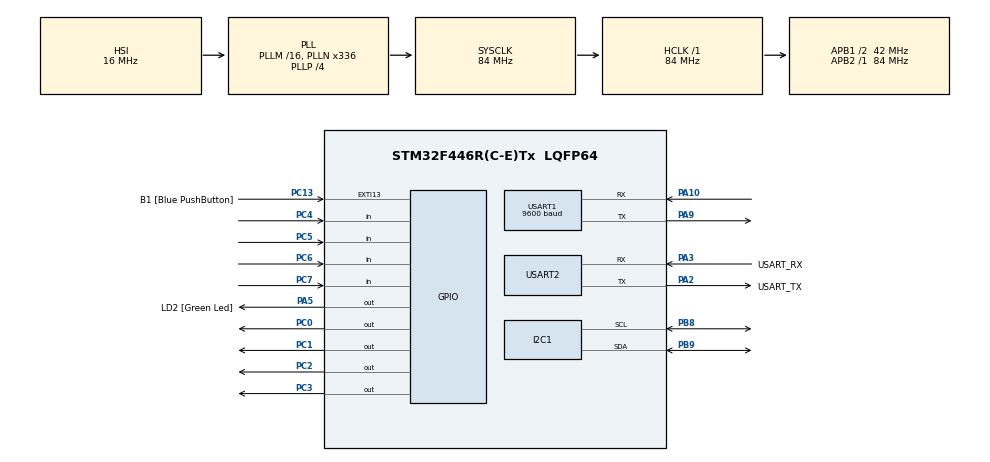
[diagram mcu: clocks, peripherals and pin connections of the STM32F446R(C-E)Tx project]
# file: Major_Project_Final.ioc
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I2C1.I2C_Mode=I2C_Fast
Mcu.Family=STM32F4
Mcu.Name=STM32F446R(C-E)Tx
Mcu.Package=LQFP64
NVIC.PriorityGroup=NVIC_PRIORITYGROUP_0
NVIC.USART1_IRQn=true\:0\:0\:false\:false\:true\:true\:true\:true
PA10.Mode=Asynchronous
PA10.Signal=USART1_RX
PA13.GPIO_Label=TMS
PA13.Mode=Serial_Wire
PA13.Signal=SYS_JTMS-SWDIO
PA14.GPIO_Label=TCK
PA14.Mode=Serial_Wire
PA14.Signal=SYS_JTCK-SWCLK
PA2.GPIO_Label=USART_TX
PA2.Mode=Asynchronous
PA2.Signal=USART2_TX
PA3.GPIO_Label=USART_RX
PA3.Mode=Asynchronous
PA3.Signal=USART2_RX
PA5.GPIO_Label=LD2 [Green Led]
PA5.Signal=GPIO_Output
PA9.Mode=Asynchronous
PA9.Signal=USART1_TX
PB3.GPIO_Label=SWO
PB3.Signal=SYS_JTDO-SWO
PB8.Mode=I2C
PB8.Signal=I2C1_SCL
PB9.Mode=I2C
PB9.Signal=I2C1_SDA
PC0.Signal=GPIO_Output
PC1.Signal=GPIO_Output
PC13.GPIO_Label=B1 [Blue PushButton]
PC13.GPIO_ModeDefaultEXTI=GPIO_MODE_IT_FALLING
PC13.Signal=GPXTI13
PC14-OSC32_IN.Mode=LSE-External-Oscillator
PC14-OSC32_IN.Signal=RCC_OSC32_IN
PC15-OSC32_OUT.Mode=LSE-External-Oscillator
PC15-OSC32_OUT.Signal=RCC_OSC32_OUT
PC2.Signal=GPIO_Output
PC3.Signal=GPIO_Output
PC4.GPIO_PuPd=GPIO_PULLUP
PC4.Signal=GPIO_Input
PC5.GPIO_PuPd=GPIO_PULLUP
PC5.Signal=GPIO_Input
PC6.GPIO_PuPd=GPIO_PULLUP
PC6.Signal=GPIO_Input
PC7.GPIO_PuPd=GPIO_PULLUP
PC7.Signal=GPIO_Input
PH0-OSC_IN.Mode=HSE-External-Oscillator
PH0-OSC_IN.Signal=RCC_OSC_IN
PH1-OSC_OUT.Mode=HSE-External-Oscillator
PH1-OSC_OUT.Signal=RCC_OSC_OUT
ProjectManager.HeapSize=0x200
ProjectManager.StackSize=0x400
ProjectManager.TargetToolchain=STM32CubeIDE
RCC.48MHZClocksFreq_Value=84000000
RCC.AHBFreq_Value=84000000
RCC.APB1CLKDivider=RCC_HCLK_DIV2
RCC.APB1Freq_Value=42000000
RCC.APB1TimFreq_Value=84000000
RCC.APB2Freq_Value=84000000
RCC.APB2TimFreq_Value=84000000
RCC.CortexFreq_Value=84000000
RCC.FLatency-AdvancedSettings=FLASH_LATENCY_2
RCC.HCLKFreq_Value=84000000
RCC.HSE_VALUE=8000000
RCC.HSI_VALUE=16000000
RCC.PLLN=336
RCC.PLLP=RCC_PLLP_DIV4
RCC.SYSCLKFreq_VALUE=84000000
RCC.SYSCLKSource=RCC_SYSCLKSOURCE_PLLCLK
RCC.USBFreq_Value=168000000
RCC.VCOOutputFreq_Value=336000000
RTC.Alarm=RTC_ALARM_A
RTC.Date=16
RTC.Hours=19
RTC.Month=RTC_MONTH_MAY
RTC.WeekDay=RTC_WEEKDAY_TUESDAY
USART1.BaudRate=9600
USART1.VirtualMode=VM_ASYNC
USART2.VirtualMode=VM_ASYNC
VP_RTC_VS_RTC_Activate.Mode=RTC_Enabled
VP_RTC_VS_RTC_Alarm_A_Intern.Mode=Alarm A
VP_RTC_VS_RTC_Calendar.Mode=RTC_Calendar
board=NUCLEO-F446RE

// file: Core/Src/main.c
/* USER CODE BEGIN Header */
/**
  ******************************************************************************
  * @file           : main.c
  * @brief          : Main program body
  ******************************************************************************
  * @attention
  *
  * Copyright (c) 2023 STMicroelectronics.
  * All rights reserved.
  *
  * This software is licensed under terms that can be found in the LICENSE file
  * in the root directory of this software component.
  * If no LICENSE file comes with this software, it is provided AS-IS.
  *
  ******************************************************************************
  */
/* USER CODE END Header */
#include "main.h"

/* USER CODE BEGIN Includes */
#include "ssd1306.h"
#include "fonts.h"
#include "test.h"
#include "bitmap.h"
#include "horse_anim.h"
#include "oled_keypad.h"
#include "internal_RTC.h"
#include <string.h>
/* USER CODE END Includes */

/* Private t data[count].rfid_dataypedef -----------------------------------------------------------*/

I2C_HandleTypeDef hi2c1;

RTC_HandleTypeDef hrtc;

UART_HandleTypeDef huart1;
UART_HandleTypeDef huart2;

void SystemClock_Config(void);
static void MX_GPIO_Init(void);
static void MX_USART2_UART_Init(void);
static void MX_I2C1_Init(void);
static void MX_USART1_UART_Init(void);
static void MX_RTC_Init(void);

/* USER CODE BEGIN 0 */
//uint8_t  rfid_data[16];

struct details{
	char rfid_data[16];
}data[3];
uint8_t value[16];
//uint8_t data;
uint8_t count=0;
char filteredData[3];

void filter() {
     // Initialize filteredData with the original data

    for (int i = 0; i < 4; i++) {
        filteredData[i] = value[i]; // Assign the value from rfid_data to filteredData
    }

    //return filteredData; // Return the filtered value
}

/* USER CODE END 0 */

int main(void)
{

  /* MCU Configuration--------------------------------------------------------*/

  /* Reset of all peripherals, Initializes the Flash interface and the Systick. */
  HAL_Init();

  /* Configure the system clock */
  SystemClock_Config();

  /* Initialize all configured peripherals */
  MX_GPIO_Init();
  MX_USART2_UART_Init();
  MX_I2C1_Init();
  MX_USART1_UART_Init();
  MX_RTC_Init();
  /* USER CODE BEGIN 2 */
  SSD1306_Init (); // initialize the display
  SSD1306_Clear();

  if(HAL_RTCEx_BKUPRead(&hrtc, RTC_BKP_DR1) != 0x32F2)
        {
        //   Set the time
          set_time();
        }

    SSD1306_GotoXY (5,15); // goto 10, 10
    SSD1306_Puts ("WELCOME TO V2 MALL ", &Font_7x10, 1); // print Hello
    SSD1306_GotoXY (5, 30);
    SSD1306_Puts ("SCAN YOUR ITEMS", &Font_7x10, 1);
    SSD1306_UpdateScreen(); // update screen
    HAL_Delay(1000);
    SSD1306_Clear();

  /* USER CODE END 2 */
    //int c = filter(data);
  /* Infinite loop */
  /* USER CODE BEGIN WHILE */
    while (1)
      {
    	//oled_keypad();
    	get_time();
    	HAL_Delay(500);
        SSD1306_GotoXY (70,0);
    	SSD1306_Puts (time, &Font_7x10, 1);
    	SSD1306_GotoXY (0,0);
    	SSD1306_Puts ("V2 MALL", &Font_7x10, 1);

    	SSD1306_UpdateScreen();

    	SSD1306_GotoXY (0,8);
    	SSD1306_DrawLine(0,10, 128, 10, 1);
    	SSD1306_UpdateScreen();

  	    HAL_UART_Receive_IT(&huart1,value, 7);
        HAL_Delay(500);
//        if(value > 0)
//        {
//        	filter();
//        	SSD1306_GotoXY (10,50);
//        	SSD1306_Puts (filteredData, &Font_7x10, 1);
//        	SSD1306_UpdateScreen();
//
//        }
        if(!(strncmp(filteredData,"3E00",3))==1)
        {
        	SSD1306_GotoXY (10,35);
        	SSD1306_Puts ("Kurti Rs.800", &Font_7x10, 1);
        	SSD1306_GotoXY (10,50);
        	SSD1306_Puts ("Total Rs.3300", &Font_7x10, 1);
        	SSD1306_UpdateScreen();
        }

        else if(!(strncmp(filteredData,"1800",3))==1)
                {
                	SSD1306_GotoXY (10,25);
                	SSD1306_Puts ("Shirt Rs.700", &Font_7x10, 1);
                	SSD1306_UpdateScreen();
                }

        else if (!(strncmp(filteredData,"5500",3))==1)
                {
//                	printf("%s filter data\n",filteredData);
//                	printf("%s value\n",value);
                	SSD1306_GotoXY (10,15);
                	SSD1306_Puts ("Jeans Rs.1800", &Font_7x10, 1);
                	SSD1306_UpdateScreen();
                }

    /* USER CODE END WHILE */

  }
}
void HAL_UART_RxCpltCallback(UART_HandleTypeDef *huart)
{
	for(int i=0;i<16;i++){
		data[count].rfid_data[i]=value[i];
	}
	filter();
//	SSD1306_GotoXY (10,50);
//	SSD1306_Puts (filteredData, &Font_7x10, 1);
//	SSD1306_UpdateScreen();
	count++;
}
void SystemClock_Config(void)
{
  RCC_OscInitTypeDef RCC_OscInitStruct = {0};
  RCC_ClkInitTypeDef RCC_ClkInitStruct = {0};

  /** Configure the main internal regulator output voltage
  */
  __HAL_RCC_PWR_CLK_ENABLE();
  __HAL_PWR_VOLTAGESCALING_CONFIG(PWR_REGULATOR_VOLTAGE_SCALE3);

  /** Initializes the RCC Oscillators according to the specified parameters
  * in the RCC_OscInitTypeDef structure.
  */
  RCC_OscInitStruct.OscillatorType = RCC_OSCILLATORTYPE_HSI|RCC_OSCILLATORTYPE_LSI;
  RCC_OscInitStruct.LSEState = RCC_LSE_ON;
  RCC_OscInitStruct.HSIState = RCC_HSI_ON;
  RCC_OscInitStruct.HSICalibrationValue = RCC_HSICALIBRATION_DEFAULT;
  RCC_OscInitStruct.LSIState = RCC_LSI_ON;
  RCC_OscInitStruct.PLL.PLLState = RCC_PLL_ON;
  RCC_OscInitStruct.PLL.PLLSource = RCC_PLLSOURCE_HSI;
  RCC_OscInitStruct.PLL.PLLM = 16;
  RCC_OscInitStruct.PLL.PLLN = 336;
  RCC_OscInitStruct.PLL.PLLP = RCC_PLLP_DIV4;
  RCC_OscInitStruct.PLL.PLLQ = 2;
  RCC_OscInitStruct.PLL.PLLR = 2;
  if (HAL_RCC_OscConfig(&RCC_OscInitStruct) != HAL_OK)
  {
    Error_Handler();
  }

  /** Initializes the CPU, AHB and APB buses clocks
  */
  RCC_ClkInitStruct.ClockType = RCC_CLOCKTYPE_HCLK|RCC_CLOCKTYPE_SYSCLK
                              |RCC_CLOCKTYPE_PCLK1|RCC_CLOCKTYPE_PCLK2;
  RCC_ClkInitStruct.SYSCLKSource = RCC_SYSCLKSOURCE_PLLCLK;
  RCC_ClkInitStruct.AHBCLKDivider = RCC_SYSCLK_DIV1;
  RCC_ClkInitStruct.APB1CLKDivider = RCC_HCLK_DIV2;
  RCC_ClkInitStruct.APB2CLKDivider = RCC_HCLK_DIV1;

  if (HAL_RCC_ClockConfig(&RCC_ClkInitStruct, FLASH_LATENCY_2) != HAL_OK)
  {
    Error_Handler();
  }
}

static void MX_I2C1_Init(void)
{

  hi2c1.Instance = I2C1;
  hi2c1.Init.ClockSpeed = 400000;
  hi2c1.Init.DutyCycle = I2C_DUTYCYCLE_2;
  hi2c1.Init.OwnAddress1 = 0;
  hi2c1.Init.AddressingMode = I2C_ADDRESSINGMODE_7BIT;
  hi2c1.Init.DualAddressMode = I2C_DUALADDRESS_DISABLE;
  hi2c1.Init.OwnAddress2 = 0;
  hi2c1.Init.GeneralCallMode = I2C_GENERALCALL_DISABLE;
  hi2c1.Init.NoStretchMode = I2C_NOSTRETCH_DISABLE;
  if (HAL_I2C_Init(&hi2c1) != HAL_OK)
  {
    Error_Handler();
  }

}

static void MX_RTC_Init(void)
{

  RTC_TimeTypeDef sTime = {0};
  RTC_DateTypeDef sDate = {0};
  RTC_AlarmTypeDef sAlarm = {0};

  /** Initialize RTC Only
  */
  hrtc.Instance = RTC;
  hrtc.Init.HourFormat = RTC_HOURFORMAT_24;
  hrtc.Init.AsynchPrediv = 127;
  hrtc.Init.SynchPrediv = 255;
  hrtc.Init.OutPut = RTC_OUTPUT_DISABLE;
  hrtc.Init.OutPutPolarity = RTC_OUTPUT_POLARITY_HIGH;
  hrtc.Init.OutPutType = RTC_OUTPUT_TYPE_OPENDRAIN;
  if (HAL_RTC_Init(&hrtc) != HAL_OK)
  {
    Error_Handler();
  }

  /** Initialize RTC and set the Time and Date
  */
  sTime.Hours = 0x19;
  sTime.Minutes = 0x0;
  sTime.Seconds = 0x0;
  sTime.DayLightSaving = RTC_DAYLIGHTSAVING_NONE;
  sTime.StoreOperation = RTC_STOREOPERATION_RESET;
  if (HAL_RTC_SetTime(&hrtc, &sTime, RTC_FORMAT_BCD) != HAL_OK)
  {
    Error_Handler();
  }
  sDate.WeekDay = RTC_WEEKDAY_TUESDAY;
  sDate.Month = RTC_MONTH_MAY;
  sDate.Date = 0x16;
  sDate.Year = 0x0;

  if (HAL_RTC_SetDate(&hrtc, &sDate, RTC_FORMAT_BCD) != HAL_OK)
  {
    Error_Handler();
  }

  /** Enable the Alarm A
  */
  sAlarm.AlarmTime.Hours = 0x0;
  sAlarm.AlarmTime.Minutes = 0x0;
  sAlarm.AlarmTime.Seconds = 0x0;
  sAlarm.AlarmTime.SubSeconds = 0x0;
  sAlarm.AlarmTime.DayLightSaving = RTC_DAYLIGHTSAVING_NONE;
  sAlarm.AlarmTime.StoreOperation = RTC_STOREOPERATION_RESET;
  sAlarm.AlarmMask = RTC_ALARMMASK_NONE;
  sAlarm.AlarmSubSecondMask = RTC_ALARMSUBSECONDMASK_ALL;
  sAlarm.AlarmDateWeekDaySel = RTC_ALARMDATEWEEKDAYSEL_DATE;
  sAlarm.AlarmDateWeekDay = 0x1;
  sAlarm.Alarm = RTC_ALARM_A;
  if (HAL_RTC_SetAlarm(&hrtc, &sAlarm, RTC_FORMAT_BCD) != HAL_OK)
  {
    Error_Handler();
  }

}

static void MX_USART1_UART_Init(void)
{

  huart1.Instance = USART1;
  huart1.Init.BaudRate = 9600;
  huart1.Init.WordLength = UART_WORDLENGTH_8B;
  huart1.Init.StopBits = UART_STOPBITS_1;
  huart1.Init.Parity = UART_PARITY_NONE;
  huart1.Init.Mode = UART_MODE_TX_RX;
  huart1.Init.HwFlowCtl = UART_HWCONTROL_NONE;
  huart1.Init.OverSampling = UART_OVERSAMPLING_16;
  if (HAL_UART_Init(&huart1) != HAL_OK)
  {
    Error_Handler();
  }

}

static void MX_USART2_UART_Init(void)
{

  huart2.Instance = USART2;
  huart2.Init.BaudRate = 115200;
  huart2.Init.WordLength = UART_WORDLENGTH_8B;
  huart2.Init.StopBits = UART_STOPBITS_1;
  huart2.Init.Parity = UART_PARITY_NONE;
  huart2.Init.Mode = UART_MODE_TX_RX;
  huart2.Init.HwFlowCtl = UART_HWCONTROL_NONE;
  huart2.Init.OverSampling = UART_OVERSAMPLING_16;
  if (HAL_UART_Init(&huart2) != HAL_OK)
  {
    Error_Handler();
  }

}

static void MX_GPIO_Init(void)
{
  GPIO_InitTypeDef GPIO_InitStruct = {0};

  /* GPIO Ports Clock Enable */
  __HAL_RCC_GPIOC_CLK_ENABLE();
  __HAL_RCC_GPIOH_CLK_ENABLE();
  __HAL_RCC_GPIOA_CLK_ENABLE();
  __HAL_RCC_GPIOB_CLK_ENABLE();

  /*Configure GPIO pin Output Level */
  HAL_GPIO_WritePin(GPIOC, GPIO_PIN_0|GPIO_PIN_1|GPIO_PIN_2|GPIO_PIN_3, GPIO_PIN_RESET);

  /*Configure GPIO pin Output Level */
  HAL_GPIO_WritePin(LD2_GPIO_Port, LD2_Pin, GPIO_PIN_RESET);

  /*Configure GPIO pin : B1_Pin */
  GPIO_InitStruct.Pin = B1_Pin;
  GPIO_InitStruct.Mode = GPIO_MODE_IT_FALLING;
  GPIO_InitStruct.Pull = GPIO_NOPULL;
  HAL_GPIO_Init(B1_GPIO_Port, &GPIO_InitStruct);

  /*Configure GPIO pins : PC0 PC1 PC2 PC3 */
  GPIO_InitStruct.Pin = GPIO_PIN_0|GPIO_PIN_1|GPIO_PIN_2|GPIO_PIN_3;
  GPIO_InitStruct.Mode = GPIO_MODE_OUTPUT_PP;
  GPIO_InitStruct.Pull = GPIO_NOPULL;
  GPIO_InitStruct.Speed = GPIO_SPEED_FREQ_LOW;
  HAL_GPIO_Init(GPIOC, &GPIO_InitStruct);

  /*Configure GPIO pin : LD2_Pin */
  GPIO_InitStruct.Pin = LD2_Pin;
  GPIO_InitStruct.Mode = GPIO_MODE_OUTPUT_PP;
  GPIO_InitStruct.Pull = GPIO_NOPULL;
  GPIO_InitStruct.Speed = GPIO_SPEED_FREQ_LOW;
  HAL_GPIO_Init(LD2_GPIO_Port, &GPIO_InitStruct);

  /*Configure GPIO pins : PC4 PC5 PC6 PC7 */
  GPIO_InitStruct.Pin = GPIO_PIN_4|GPIO_PIN_5|GPIO_PIN_6|GPIO_PIN_7;
  GPIO_InitStruct.Mode = GPIO_MODE_INPUT;
  GPIO_InitStruct.Pull = GPIO_PULLUP;
  HAL_GPIO_Init(GPIOC, &GPIO_InitStruct);

}

/* USER CODE BEGIN 4 */
int _write(int file, char *ptr, int len)
{
  (void)file;
  int DataIdx;

  for (DataIdx = 0; DataIdx < len; DataIdx++)
  {
	  ITM_SendChar(*ptr++);
  }
  return len;
}

/* USER CODE END 4 */

void Error_Handler(void)
{
  __disable_irq();
  while (1)
  {
  }
}
